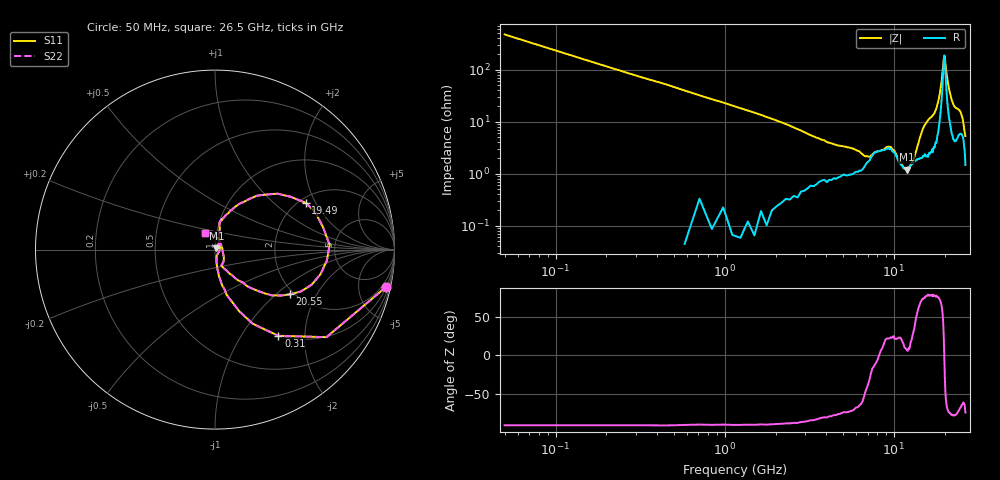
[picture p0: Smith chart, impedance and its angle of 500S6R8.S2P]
!  American Technical Ceramics  Date:  3/6/98
!  One Norden Lane
!  Huntington Station,  NY.  11746-2102
!  Tel:  (516) 547-5700  Fax:  (516) 547-5748
!  Part Number  500S6R8
!  Description: Broadband Microwave capacitor
!  Application:
# GHZ S DB R 50
! Freq  |S11|  S11 Ph  |S21|  S21 Ph  |S12|  S12 Ph  |S22|  S22 Ph
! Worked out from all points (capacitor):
!   201 points, 50 MHz to 26.5 GHz, reference 50 ohm
!   read as one part in series: C = 6.89 pF near 180 MHz
!   lowest |Z| = 1.18 ohm at 11.95 GHz (marker M1)
!   series resonance near 8.196 GHz, so ESL is about 55 pH
!   S11 on the Smith chart (normalised r, x): 50 MHz: 1.01, -9.26; 310 MHz: 0.99, -1.48; 19.49 GHz: 2.17, +1.67; 20.55 GHz: 1.90, -1.24; 26.5 GHz: 0.88, +0.17
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0.05  -0.20 -12.2  -13.73 78.2  -13.73 78.2  -0.20 -12.2
0.18  -2.05 -38.1  -4.22 52.2  -4.22 52.2  -2.05 -38.1
0.31  -4.49 -53.6  -1.88 36.6  -1.88 36.6  -4.49 -53.6
0.84  -11.70 -75.6  -0.35 15.0  -0.35 15.0  -11.70 -75.6
1.9  -18.89 -82.5  -0.07 6.4  -0.07 6.4  -18.89 -82.5
4.55  -26.68 -79.2  -0.08 1.3  -0.08 1.3  -26.68 -79.2
6.13  -26.91 -78.8  -0.12 0.3  -0.12 0.3  -26.91 -78.8
7.46  -32.07 -38.9  -0.21 -0.1  -0.21 -0.1  -32.07 -38.9
8.91  -29.29 33.9  -0.24 -0.0  -0.24 -0.0  -29.29 33.9
9.97  -28.68 50.9  -0.24 0.3  -0.24 0.3  -28.68 50.9
11.95  -39.59 37.2  -0.13 0.2  -0.13 0.2  -39.59 37.2
13.28  -31.68 45.4  -0.14 -0.4  -0.14 -0.4  -31.68 45.4
14.99  -19.04 76.8  -0.23 -2.0  -0.23 -2.0  -19.04 76.8
17.77  -14.24 73.4  -0.53 -7.0  -0.53 -7.0  -14.24 73.4
18.83  -9.30 55.7  -1.65 -16.8  -1.65 -16.8  -9.30 55.7
19.49  -4.90 27.2  -5.35 -23.9  -5.35 -23.9  -4.90 27.2
19.89  -3.89 2.3  -9.26 4.3  -9.26 4.3  -3.89 2.3
20.55  -6.26 -30.9  -3.65 33.6  -3.65 33.6  -6.26 -30.9
22.14  -16.77 -59.9  -0.80 18.3  -0.80 18.3  -16.77 -59.9
24.52  -22.92 -46.4  -0.68 13.5  -0.68 13.5  -22.92 -46.4
25.31  -27.91 24.1  -0.60 13.4  -0.60 13.4  -27.91 24.1
26.5  -19.30 120.1  -0.62 11.9  -0.62 11.9  -19.30 120.1
